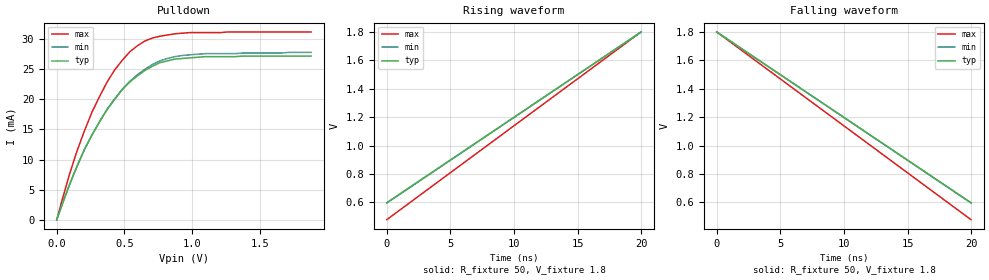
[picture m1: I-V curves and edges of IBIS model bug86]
[IBIS Ver]   4.0
[File Name]   bug86.ibs
[File Rev]   1.0
[Date]   5/06/2004
[Source]   John Angulo/Michael Mirmak.  Derived from the following:
   From silicon level SPICE model
   Developed by:
   Signal Integrity Software, Inc.
   6 Clock Tower Place, Suite 250
   Maynard, MA 01754
   support@sisoft.com
   www.sisoft.com
   (978) 461-0449
[Notes]
[Disclaimer]  Not a useful or fully compliant IBIS model, just a test case
[Copyright]   none
|   Component bug86 (from bug82)
[Component]   bug86
[Manufacturer] none
[Package]
| Default pkg params obtained from strip line length=12mm
R_pkg 616m   NA   NA
L_pkg 3.6nH  NA   NA
C_pkg 1.44pF NA   NA
[Pin] signal_name   model_name   R_pin   L_pin   C_pin
A2   open_drain   bug86
| Models and submodels in the file (1): bug86 (Open_drain)
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|   Model bug86 (from bug82)
[Model]   bug86
Model_type   Open_drain
C_comp 228.4f 193.34f 259.58f
Rref =   28
Vref =   1.80
[Model Spec]
Vmeas 1.4V 1.4V 1.4V
[Temperature Range]   60   120   -40
[Voltage Range] 1.8 1.692 1.908
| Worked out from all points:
|   rising waveform, R_fixture 50, V_fixture 1.8: 20-80 % time 12ns typ, 12ns min, 12ns max; typ from 0.598 V to 1.8 V
|   falling waveform, R_fixture 50, V_fixture 1.8: 20-80 % time 12ns typ, 12ns min, 12ns max; typ from 1.8 V to 0.598 V
[Pulldown]
1.2mV     0A         0A         0A
94.8mV    5.8mA      5.8mA      7.5mA
150.5mV   8.9mA      8.8mA      11.4mA
261.9mV   14.1mA     14.1mA     17.9mA
373.4mV   18.3mA     18.4mA     22.9mA
429.1mV   20mA       20.1mA     24.9mA
540.6mV   22.9mA     23mA       27.9mA
596.3mV   23.9mA     24.1mA     28.9mA
652mV     24.8mA     25mA       29.7mA
763.5mV   26.1mA     26.4mA     30.5mA
930.7mV   26.8mA     27.3mA     31mA
1.878V    27.2mA     27.8mA     31.2mA
[Ramp]
dV/dt_r .721/157.74p .7227/193.24p .7928/124.21p
dV/dt_f .721/145.82p .7227/231.23p .7928/82.808p
[Rising Waveform]
R_fixture = 50
V_fixture = 1.8
0s        598.2mV    595.3mV    478.5mV
19.97ns   1.8V       1.8V       1.8V
[Falling Waveform]
R_fixture = 50
V_fixture = 1.8
0s        1.8V       1.8V       1.8V
19.97ns   598.4mV    596mV      478.7mV
